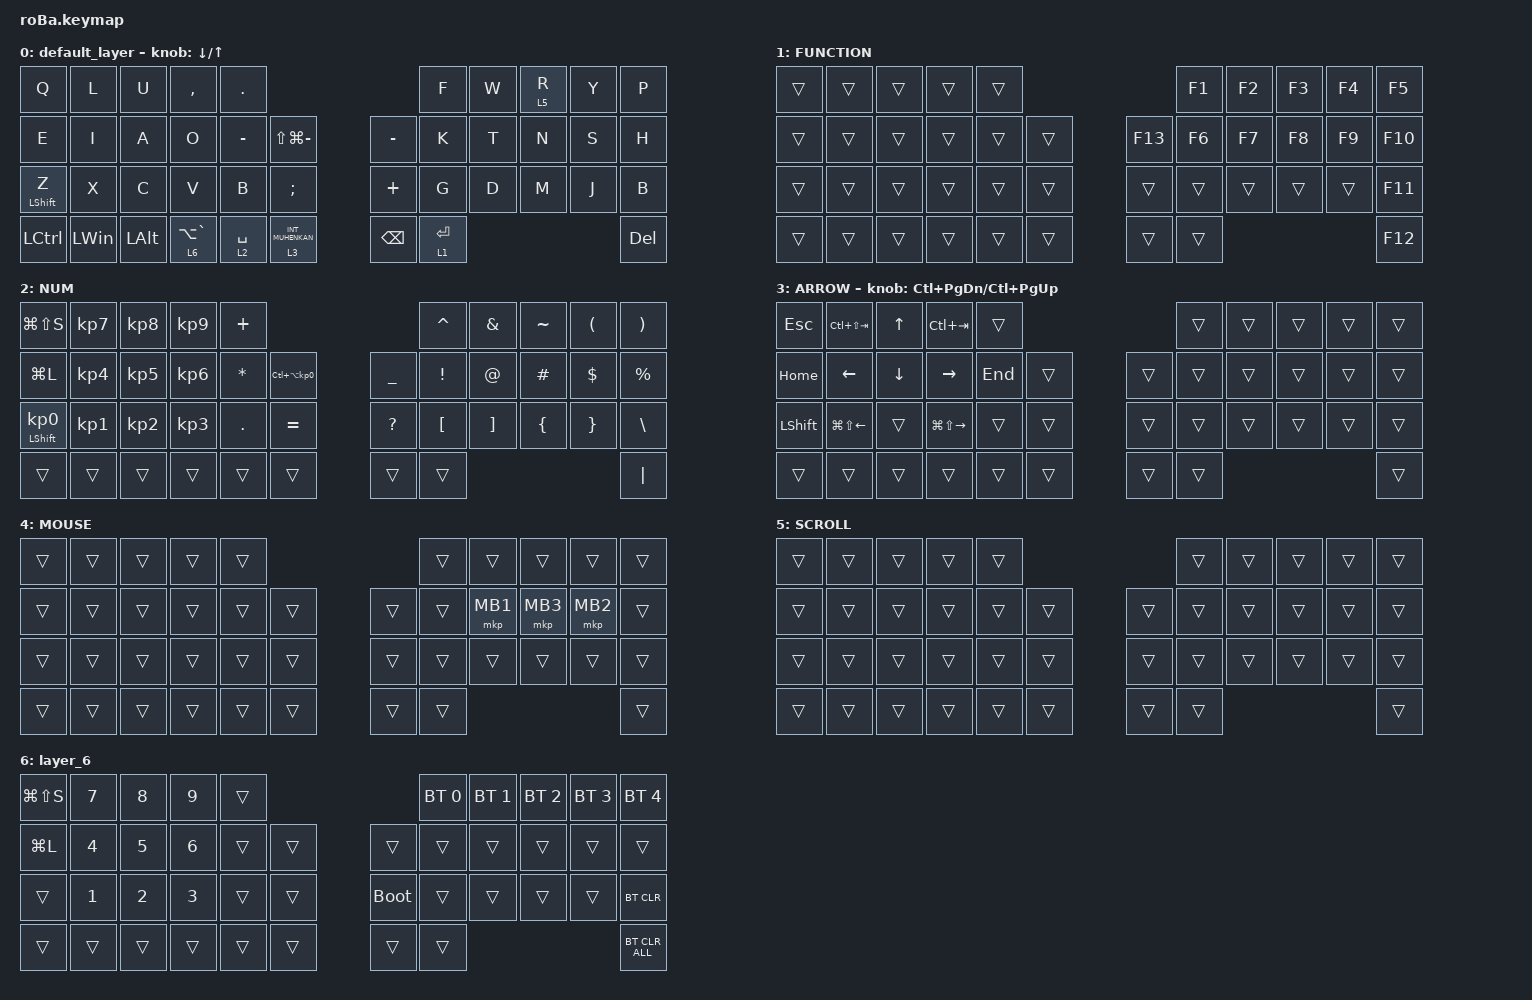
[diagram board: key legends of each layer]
#include <behaviors.dtsi>
#include <dt-bindings/zmk/bt.h>
#include <dt-bindings/zmk/keys.h>
#include <dt-bindings/zmk/pointing.h>

#define MOUSE 4
#define SCROLL 5
#define NUM 6

&mt {
    flavor = "balanced";
    quick-tap-ms = <0>;
};

/ {
    combos {
        compatible = "zmk,combos";

        tab {
            bindings = <&kp TAB>;
            key-positions = <11 12>;
        };

        shift_tab {
            bindings = <&kp LS(TAB)>;
            key-positions = <12 13>;
        };

        muhennkann {
            bindings = <&to_layer_0 INT_MUHENKAN>;
            key-positions = <11 10>;
        };

        double_quotation {
            bindings = <&kp DOUBLE_QUOTES>;
            key-positions = <20 21>;
        };

        eq {
            bindings = <&kp EQUAL>;
            key-positions = <24 25>;
        };
    };

    macros {
        to_layer_0: to_layer_0 {
            compatible = "zmk,behavior-macro-one-param";
            #binding-cells = <1>;
            bindings = <&to 0 &macro_param_1to1 &kp MACRO_PLACEHOLDER>;
            label = "TO_LAYER_0";
        };
    };

    mmkp_exit_AML: mkp_exit_AML {
    compatible = "zmk,behavior-macro-one-param";
    #binding-cells = <1>;
    bindings = <
        &macro_press
        &macro_param_1to1 &mkp MACRO_PLACEHOLDER
        &macro_pause_for_release
        &macro_release
        &macro_param_1to1 &mkp MACRO_PLACEHOLDER
        &macro_tap
        &sl 4
    >;
    label = "MKP_EXIT_AML";
};




    behaviors {
        lt_to_layer_0: lt_to_layer_0 {
            compatible = "zmk,behavior-hold-tap";
            label = "LAYER_TAP_TO_0";
            bindings = <&mo>, <&to_layer_0>;

            #binding-cells = <2>;
            tapping-term-ms = <200>;
        };
    };

    keymap {
        compatible = "zmk,keymap";

        default_layer {
            bindings = <
&kp Q             &kp L         &kp U         &kp COMMA                    &kp PERIOD                                                     &kp F        &kp W  &lt 5 R  &kp Y  &kp P
&kp E             &kp I         &kp A         &kp O                        &kp MINUS    &kp LS(LG(MINUS))                  &kp MINUS      &kp K        &kp T  &kp N    &kp S  &kp H
&mt LEFT_SHIFT Z  &kp X         &kp C         &kp V                        &kp B        &kp SEMICOLON                      &kp PLUS       &kp G &kp D  &kp M  &kp J    &kp B
&kp LCTRL         &kp LEFT_WIN  &kp LEFT_ALT  &lt_to_layer_0 6 LA(GRAVE)    &lt 2 SPACE  &lt_to_layer_0 3 INT_MUHENKAN      &kp BACKSPACE  &lt 1 ENTER                         &kp DEL
            >;

            // Keep the left encoder useful for scrolling without jumping a full page.
            sensor-bindings = <&inc_dec_kp DOWN_ARROW UP_ARROW>;
        };

        FUNCTION {
            bindings = <
&trans  &trans  &trans  &trans  &trans                       &kp F1  &kp F2  &kp F3  &kp F4  &kp F5
&trans  &trans  &trans  &trans  &trans  &trans      &kp F13  &kp F6  &kp F7  &kp F8  &kp F9  &kp F10
&trans  &trans  &trans  &trans  &trans  &trans      &trans   &trans  &trans  &trans  &trans  &kp F11
&trans  &trans  &trans  &trans  &trans  &trans      &trans   &trans                          &kp F12
            >;
        };

        NUM {
            bindings = <
&kp LG(LS(S))               &kp KP_NUMBER_7  &kp KP_NUMBER_8  &kp KP_NUMBER_9  &kp PLUS                                                   &kp CARET         &kp AMPERSAND      &kp TILDE       &kp LEFT_PARENTHESIS  &kp RIGHT_PARENTHESIS
&kp LG(L)                   &kp KP_NUMBER_4  &kp KP_NUMBER_5  &kp KP_NUMBER_6  &kp ASTERISK  &kp LC(LA(KP_NUMBER_0))      &kp UNDERSCORE  &kp EXCLAMATION   &kp AT_SIGN         &kp HASH        &kp DOLLAR            &kp PERCENT
&mt LEFT_SHIFT KP_NUMBER_0  &kp KP_NUMBER_1  &kp KP_NUMBER_2  &kp KP_NUMBER_3  &kp PERIOD    &kp EQUAL                    &kp QUESTION    &kp LEFT_BRACKET  &kp RIGHT_BRACKET  &kp LEFT_BRACE  &kp RIGHT_BRACE       &kp BACKSLASH
&trans                      &trans           &trans           &trans           &trans        &trans                       &trans          &trans                                                                     &kp PIPE
            >;
        };

        ARROW {
            bindings = <
&kp ESCAPE      &kp LC(LS(TAB))         &kp UP_ARROW    &kp LC(TAB)              &trans                       &trans  &trans  &trans  &trans  &trans
&kp HOME        &kp LEFT_ARROW          &kp DOWN_ARROW  &kp RIGHT_ARROW          &kp END  &trans      &trans  &trans  &trans  &trans  &trans  &trans
&kp LEFT_SHIFT  &kp LG(LS(LEFT_ARROW))  &trans          &kp LG(LS(RIGHT_ARROW))  &trans   &trans      &trans  &trans  &trans  &trans  &trans  &trans
&trans          &trans                  &trans          &trans                   &trans   &trans      &trans  &trans                          &trans
            >;

            sensor-bindings = <&inc_dec_kp LC(PAGE_DOWN) LC(PAGE_UP)>;
        };

        MOUSE {
            bindings = <
&trans  &trans  &trans  &trans  &trans                      &trans  &trans    &trans    &trans    &trans
&trans  &trans  &trans  &trans  &trans  &trans      &trans  &trans  &mkp MB1  &mkp MB3  &mkp MB2  &trans
&trans  &trans  &trans  &trans  &trans  &trans      &trans  &trans  &trans    &trans    &trans    &trans
&trans  &trans  &trans  &trans  &trans  &trans      &trans  &trans                                &trans
            >;
        };

        SCROLL {
            bindings = <
&trans  &trans  &trans  &trans  &trans                      &trans  &trans  &trans  &trans  &trans
&trans  &trans  &trans  &trans  &trans  &trans      &trans  &trans  &trans  &trans  &trans  &trans
&trans  &trans  &trans  &trans  &trans  &trans      &trans  &trans  &trans  &trans  &trans  &trans
&trans  &trans  &trans  &trans  &trans  &trans      &trans  &trans                          &trans
            >;
        };

        layer_6 {
            bindings = <
&kp LG(LS(S))  &kp NUMBER_7  &kp N8        &kp N9        &trans                           &bt BT_SEL 0  &bt BT_SEL 1  &bt BT_SEL 2  &bt BT_SEL 3  &bt BT_SEL 4
&kp LG(L)      &kp NUMBER_4  &kp N5        &kp NUMBER_6  &trans  &trans      &trans       &trans        &trans        &trans        &trans        &trans
&trans  &kp NUMBER_1  &kp NUMBER_2  &kp NUMBER_3  &trans  &trans      &bootloader  &trans        &trans        &trans        &trans        &bt BT_CLR
&trans  &trans        &trans        &trans        &trans  &trans      &trans       &trans                                                  &bt BT_CLR_ALL
            >;
        };
    };
};
